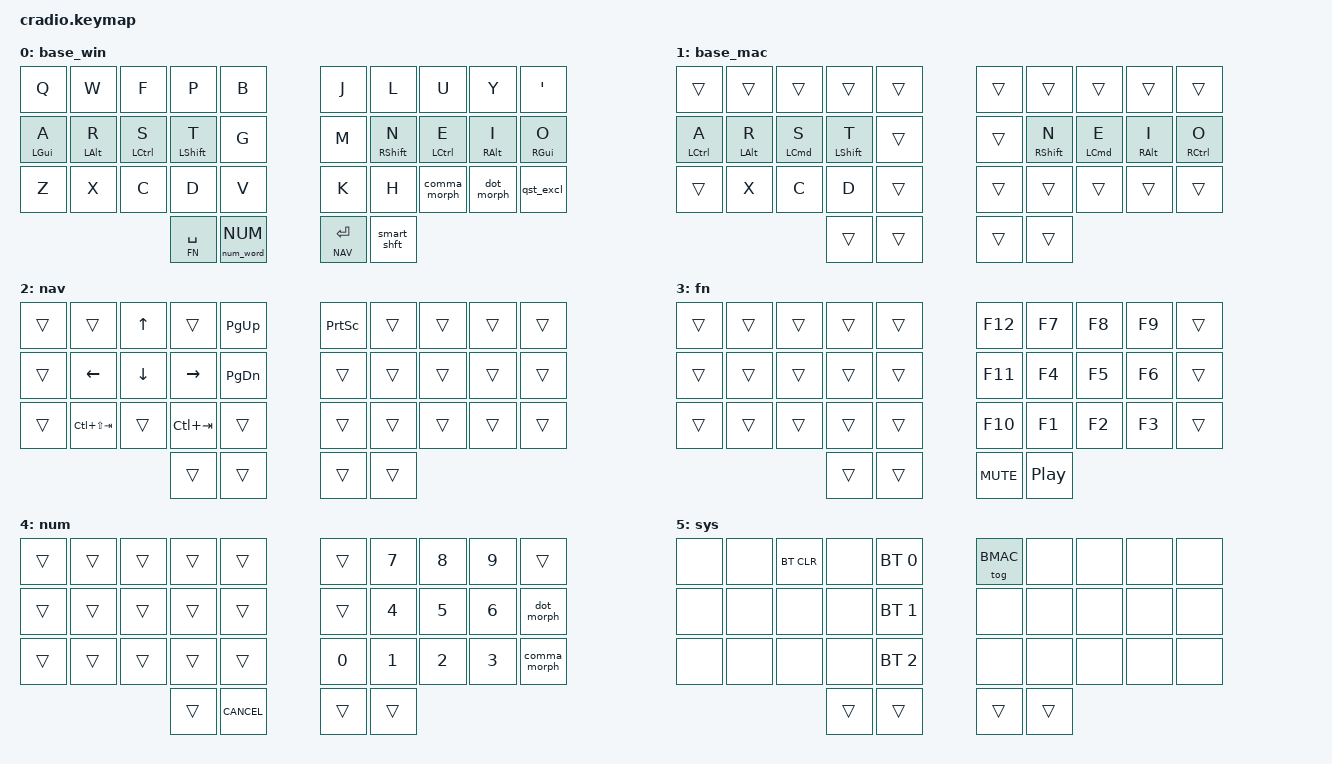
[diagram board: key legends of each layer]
#include <behaviors.dtsi>
#include <behaviors/num_word.dtsi>
#include <dt-bindings/zmk/keys.h>
#include <dt-bindings/zmk/bt.h>

#include "zmk-helpers/helper.h"
#include "zmk-helpers/key-labels/34.h"

#define BWIN 0
#define BMAC 1
#define NAV  2
#define FN   3
#define NUM  4
#define SYS  5

#define KEYS_L LT0 LT1 LT2 LT3 LT4 LM0 LM1 LM2 LM3 LM4 LB0 LB1 LB2 LB3 LB4
#define KEYS_R RT0 RT1 RT2 RT3 RT4 RM0 RM1 RM2 RM3 RM4 RB0 RB1 RB2 RB3 RB4
#define THUMBS LH0 LH1 RH0 RH1

#define COMBO_TERM_FAST 18
#define COMBO_TERM_SLOW 30

#define COMBO_IDLE_FAST 150
#define COMBO_IDLE_SLOW 50


ZMK_HOLD_TAP(hml,
    flavor = "balanced";
    tapping-term-ms = <280>;
    quick-tap-ms = <175>;                // repeat on tap-into-hold
    require-prior-idle-ms = <150>;
    bindings = <&kp>, <&kp>;
    hold-trigger-key-positions = <KEYS_R THUMBS>;
    hold-trigger-on-release;             // delay positional check until key-release
)

ZMK_HOLD_TAP(hmr,
    flavor = "balanced";
    tapping-term-ms = <280>;
    quick-tap-ms = <175>;                // repeat on tap-into-hold
    require-prior-idle-ms = <150>;
    bindings = <&kp>, <&kp>;
    hold-trigger-key-positions = <KEYS_L THUMBS>;
    hold-trigger-on-release;             // delay positional check until key-release
)

// tap: sticky-shift | shift + tap/ double-tap: caps-word | hold: shift
ZMK_MOD_MORPH(smart_shft,
    bindings = <&sk LSHFT>, <&caps_word>;
    mods = <(MOD_LSFT)>;
)

// tap: , | shift + tap: ;
ZMK_MOD_MORPH(comma_morph,
    mods = <(MOD_LSFT|MOD_RSFT)>;
    bindings = <&kp COMMA>, <&kp SEMICOLON>;
)

// tap: . | shift + tap: :
ZMK_MOD_MORPH(dot_morph,
    mods = <(MOD_LSFT|MOD_RSFT)>;
    bindings = <&kp DOT>, <&kp COLON>;
)

// tap: ? | shift + tap: !
ZMK_MOD_MORPH(qst_excl,
    mods = <(MOD_LSFT|MOD_RSFT)>;
    bindings = <&kp QMARK>, <&kp EXCL>;
)

// tap: ( | shift + tap: <
ZMK_MOD_MORPH(lpar_lt,
    mods = <(MOD_LSFT|MOD_RSFT)>;
    bindings = <&kp LPAR>, <&kp LT>;
)

// tap: ) | shift + tap: >
ZMK_MOD_MORPH(rpar_gt,
    mods = <(MOD_LSFT|MOD_RSFT)>;
    bindings = <&kp RPAR>, <&kp GT>;
)



/* Vertical combos - left hand */
ZMK_COMBO(at,      &kp AT,      LT3 LM3, BWIN BMAC NAV NUM, COMBO_TERM_SLOW, COMBO_IDLE_SLOW)
ZMK_COMBO(hash,    &kp HASH,    LT2 LM2, BWIN BMAC NAV NUM, COMBO_TERM_SLOW, COMBO_IDLE_SLOW)
ZMK_COMBO(dollar,  &kp DOLLAR,  LT1 LM1, BWIN BMAC NAV NUM, COMBO_TERM_SLOW, COMBO_IDLE_SLOW)
ZMK_COMBO(percent, &kp PERCENT, LT0 LM0, BWIN BMAC NAV NUM, COMBO_TERM_SLOW, COMBO_IDLE_SLOW)

ZMK_COMBO(grave, &kp GRAVE, LM3 LB3, BWIN BMAC NAV NUM, COMBO_TERM_SLOW, COMBO_IDLE_SLOW)
ZMK_COMBO(bslh,  &kp BSLH,  LM2 LB2, BWIN BMAC NAV NUM, COMBO_TERM_SLOW, COMBO_IDLE_SLOW)
ZMK_COMBO(equal, &kp EQUAL, LM1 LB1, BWIN BMAC NAV NUM, COMBO_TERM_SLOW, COMBO_IDLE_SLOW)
ZMK_COMBO(tilde, &kp TILDE, LM0 LB0, BWIN BMAC NAV NUM, COMBO_TERM_SLOW, COMBO_IDLE_SLOW)

/* Vertical combos - right hand */
ZMK_COMBO(caret, &kp CARET, RT0 RM0, BWIN BMAC NAV NUM, COMBO_TERM_SLOW, COMBO_IDLE_SLOW)
ZMK_COMBO(amps,  &kp AMPS,  RT1 RM1, BWIN BMAC NAV NUM, COMBO_TERM_SLOW, COMBO_IDLE_SLOW)
ZMK_COMBO(astrk, &kp ASTRK, RT2 RM2, BWIN BMAC NAV NUM, COMBO_TERM_SLOW, COMBO_IDLE_SLOW)
ZMK_COMBO(plus,  &kp PLUS,  RT3 RM3, BWIN BMAC NAV NUM, COMBO_TERM_SLOW, COMBO_IDLE_SLOW)

ZMK_COMBO(under, &kp UNDER, RM0 RB0, BWIN BMAC NAV NUM, COMBO_TERM_SLOW, COMBO_IDLE_SLOW)
ZMK_COMBO(minus, &kp MINUS, RM1 RB1, BWIN BMAC NAV NUM, COMBO_TERM_SLOW, COMBO_IDLE_SLOW)
ZMK_COMBO(slash, &kp FSLH,  RM2 RB2, BWIN BMAC NAV NUM, COMBO_TERM_SLOW, COMBO_IDLE_SLOW)
ZMK_COMBO(pipe,  &kp PIPE,  RM3 RB3, BWIN BMAC NAV NUM, COMBO_TERM_SLOW, COMBO_IDLE_SLOW)



/* Horizontal combos - left hand */
ZMK_COMBO(esc,   &kp ESC,   LT2 LT3, BWIN BMAC NAV NUM, COMBO_TERM_FAST, COMBO_IDLE_FAST)
ZMK_COMBO(enter, &kp ENTER, LT1 LT2, BWIN BMAC NAV NUM, COMBO_TERM_FAST, COMBO_IDLE_FAST)

ZMK_COMBO(tab,  &kp TAB,  LM1 LM2, BWIN BMAC NAV NUM, COMBO_TERM_FAST, COMBO_IDLE_FAST)

ZMK_COMBO(w_paste, &kp LC(V), LB1 LB2, BWIN, COMBO_TERM_FAST, COMBO_IDLE_FAST)
ZMK_COMBO(w_copy,  &kp LC(C), LB2 LB3, BWIN, COMBO_TERM_FAST, COMBO_IDLE_FAST)
ZMK_COMBO(w_cut,   &kp LC(X), LB1 LB3, BWIN, COMBO_TERM_FAST, COMBO_IDLE_FAST)

ZMK_COMBO(m_paste, &kp LG(V), LB1 LB2, BMAC, COMBO_TERM_FAST, COMBO_IDLE_FAST)
ZMK_COMBO(m_copy,  &kp LG(C), LB2 LB3, BMAC, COMBO_TERM_FAST, COMBO_IDLE_FAST)
ZMK_COMBO(m_cut,   &kp LG(X), LB1 LB3, BMAC, COMBO_TERM_FAST, COMBO_IDLE_FAST)

/* Horizontal combos - right hand */
ZMK_COMBO(bspc, &kp BSPC, RT1 RT2, BWIN BMAC NAV NUM, COMBO_TERM_FAST, COMBO_IDLE_FAST)

ZMK_COMBO(lpar, &lpar_lt, RM1 RM2, BWIN BMAC NAV NUM, COMBO_TERM_FAST, COMBO_IDLE_FAST)
ZMK_COMBO(rpar, &rpar_gt, RM2 RM3, BWIN BMAC NAV NUM, COMBO_TERM_FAST, COMBO_IDLE_FAST)


ZMK_COMBO(lbkt, &kp LBKT, RB1 RB2, BWIN BMAC NAV NUM, COMBO_TERM_FAST, COMBO_IDLE_FAST)
ZMK_COMBO(rbkt, &kp RBKT, RB2 RB3, BWIN BMAC NAV NUM, COMBO_TERM_FAST, COMBO_IDLE_FAST)

ZMK_COMBO(w_undo, &kp LC(Z), RB3 RB4, BWIN, COMBO_TERM_FAST, COMBO_IDLE_FAST)
ZMK_COMBO(m_undo, &kp LG(Z), RB3 RB4, BMAC, COMBO_TERM_FAST, COMBO_IDLE_FAST)

/* Horizontal combos - both hands */
ZMK_COMBO(sys, &tog SYS, LB4 RB4, BWIN BMAC SYS, COMBO_TERM_FAST, COMBO_IDLE_FAST)


ZMK_LAYER(base_win,
    &kp Q       &kp W       &kp F        &kp P        &kp B        &kp J &kp L        &kp U        &kp Y       &kp SQT
    &hml LGUI A &hml LALT R &hml LCTRL S &hml LSHFT T &kp G        &kp M &hmr RSHFT N &hmr LCTRL E &hmr RALT I &hmr RGUI O 
    &kp Z       &kp X       &kp C        &kp D        &kp V        &kp K &kp H        &comma_morph &dot_morph  &qst_excl
                                 &lt FN SPACE &num_word NUM        &lt NAV ENTER &smart_shft
)

ZMK_LAYER(base_mac,
    &trans       &trans      &trans      &trans       &trans        &trans &trans       &trans      &trans      &trans
    &hml LCTRL A &hml LALT R &hml LCMD S &hml LSHFT T &trans        &trans &hmr RSHFT N &hmr LCMD E &hmr RALT I &hmr RCTRL O 
    &trans       &kp X       &kp C        &kp D       &trans        &trans &trans       &trans      &trans      &trans
                                               &trans &trans        &trans &trans
)

ZMK_LAYER(nav,
    &trans &trans          &kp UP   &trans      &kp PG_UP        &kp PSCRN &trans &trans &trans &trans
    &trans &kp LEFT        &kp DOWN &kp RIGHT   &kp PG_DN        &trans    &trans &trans &trans &trans 
    &trans &kp LC(LS(TAB)) &trans   &kp LC(TAB) &trans           &trans    &trans &trans &trans &trans
                                            &trans &trans        &trans &trans
)

ZMK_LAYER(fn,
    &trans &trans &trans &trans &trans        &kp F12 &kp F7 &kp F8 &kp F9 &trans
    &trans &trans &trans &trans &trans        &kp F11 &kp F4 &kp F5 &kp F6 &trans 
    &trans &trans &trans &trans &trans        &kp F10 &kp F1 &kp F2 &kp F3 &trans
                         &trans &trans        &kp C_MUTE &kp C_PP
)

ZMK_LAYER(num,
    &trans &trans &trans &trans &trans        &trans &kp N7 &kp N8 &kp N9 &trans
    &trans &trans &trans &trans &trans        &trans &kp N4 &kp N5 &kp N6 &dot_morph 
    &trans &trans &trans &trans &trans        &kp N0 &kp N1 &kp N2 &kp N3 &comma_morph
                   &trans &kp K_CANCEL        &trans &trans
)

ZMK_LAYER(sys,
    &none &none &bt BT_CLR &none &bt BT_SEL 0        &tog BMAC &none &none &none &none
    &none &none &none      &none &bt BT_SEL 1        &none     &none &none &none &none 
    &none &none &none      &none &bt BT_SEL 2        &none     &none &none &none &none
                                &trans &trans        &trans    &trans
)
